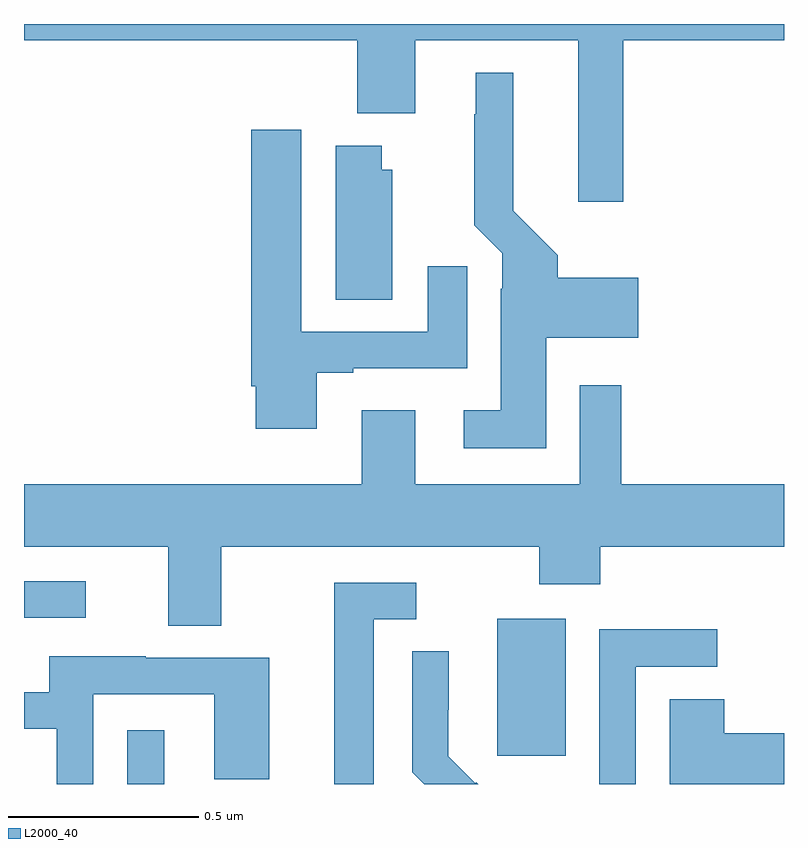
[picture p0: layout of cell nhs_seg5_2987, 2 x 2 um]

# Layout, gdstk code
import gdstk
lib = gdstk.Library(unit=1e-6, precision=1e-09)
def R(c, l, rs):  # rectangles x0, y0, x1, y1
    for r in rs: c.add(gdstk.rectangle(r[:2], r[2:], *l))
def P(c, l, *ps):  # polygons
    for p in ps: c.add(gdstk.Polygon(p, *l))
L2000_40 = (2000, 40)

nhs_seg5_2987 = lib.new_cell('nhs_seg5_2987')
R(nhs_seg5_2987, L2000_40, [(151.272,858.799,151.369,858.94), (152.246,858.873,152.425,859.234), (151,859.236,151.162,859.332)])
P(nhs_seg5_2987, L2000_40, [(152.577,860.756),(153,860.756),(153,860.799),(151,860.799),(151,860.756),(151.877,860.756),(151.877,860.564),(152.029,860.564),(152.029,860.756),(152.459,860.756),(152.459,860.331),(152.577,860.331)],
  [(152.374,859.973),(152.617,859.973),(152.617,860.131),(152.405,860.131),(152.405,860.19),(152.287,860.308),(152.287,860.671),(152.189,860.671),(152.189,860.561),(152.185,860.561),(152.185,860.27),(152.259,860.196),(152.259,860.102),(152.255,860.102),(152.255,859.783),(152.157,859.783),(152.157,859.682),(152.374,859.682)],
  [(151.771,859.881),(151.867,859.881),(151.867,859.893),(152.167,859.893),(152.167,860.161),(152.063,860.161),(152.063,859.989),(151.729,859.989),(151.729,860.521),(151.598,860.521),(151.598,859.846),(151.61,859.846),(151.61,859.734),(151.771,859.734)],
  [(151.969,860.415),(151.942,860.415),(151.942,860.479),(151.82,860.479),(151.82,860.074),(151.969,860.074)],
  [(151.519,859.424),(152.356,859.424),(152.356,859.325),(152.516,859.325),(152.516,859.424),(153,859.424),(153,859.588),(152.572,859.588),(152.572,859.849),(152.463,859.849),(152.463,859.588),(152.029,859.588),(152.029,859.783),(151.889,859.783),(151.889,859.588),(151,859.588),(151,859.424),(151.379,859.424),(151.379,859.216),(151.519,859.216)],
  [(151.921,859.233),(152.032,859.233),(152.032,859.329),(151.817,859.329),(151.817,858.799),(151.921,858.799)],
  [(152.61,859.107),(152.824,859.107),(152.824,859.206),(152.514,859.206),(152.514,858.799),(152.61,858.799)],
  [(152.19,858.804),(152.187,858.801),(152.117,858.872),(152.117,858.994),(152.118,858.994),(152.118,859.148),(152.022,859.148),(152.022,858.83),(152.053,858.799),(152.195,858.799)],
  [(151.182,859.035),(151.5,859.035),(151.5,858.811),(151.645,858.811),(151.645,859.131),(151.321,859.131),(151.321,859.135),(151.067,859.135),(151.067,859.041),(151,859.041),(151,858.945),(151.086,858.945),(151.086,858.799),(151.182,858.799)],
  [(153,858.932),(152.843,858.932),(152.843,859.022),(152.699,859.022),(152.699,858.799),(153,858.799)])

lib.write_gds('nhs_seg5_2987.gds')
